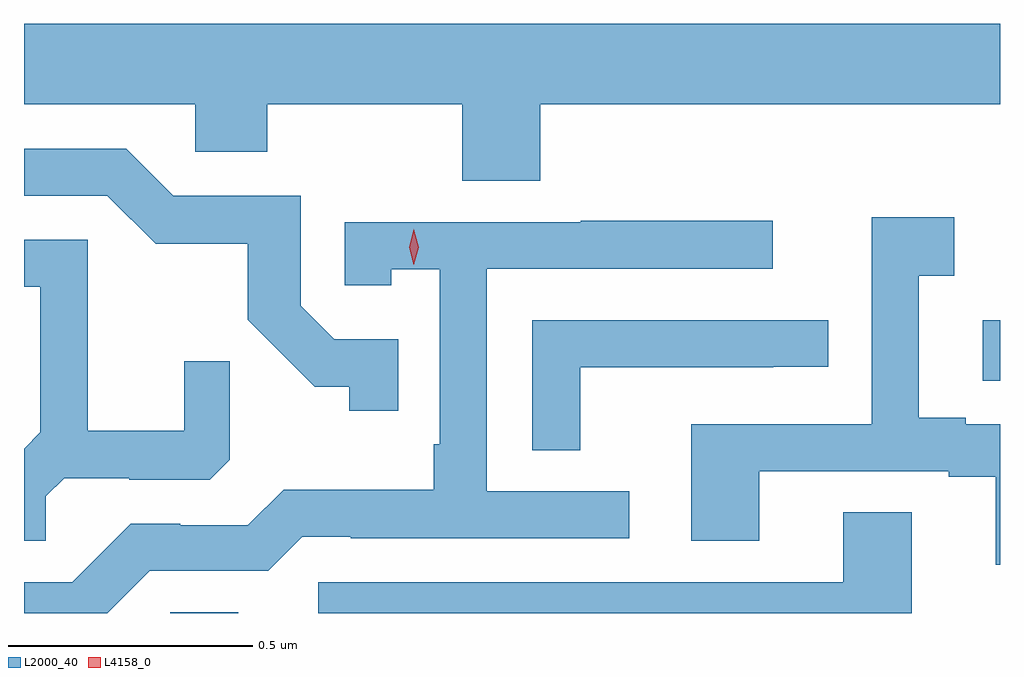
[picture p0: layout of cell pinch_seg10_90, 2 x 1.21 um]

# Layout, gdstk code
import gdstk
lib = gdstk.Library(unit=1e-6, precision=1e-09)
def R(c, l, rs):  # rectangles x0, y0, x1, y1
    for r in rs: c.add(gdstk.rectangle(r[:2], r[2:], *l))
def P(c, l, *ps):  # polygons
    for p in ps: c.add(gdstk.Polygon(p, *l))
L2000_40 = (2000, 40)
L4158_0 = (4158, 0)

pinch_seg10_90 = lib.new_cell('pinch_seg10_90')
R(pinch_seg10_90, L2000_40, [(734.274,1292.613,734.413,1292.615), (735.939,1293.089,735.974,1293.213)])
P(pinch_seg10_90, L2000_40, [(735.032,1293.656),(735.974,1293.656),(735.974,1293.82),(733.974,1293.82),(733.974,1293.656),(734.325,1293.656),(734.325,1293.558),(734.472,1293.558),(734.472,1293.656),(734.872,1293.656),(734.872,1293.499),(735.032,1293.499)],
  [(734.741,1293.174),(734.61,1293.174),(734.541,1293.243),(734.541,1293.468),(734.28,1293.468),(734.184,1293.564),(733.974,1293.564),(733.974,1293.468),(734.145,1293.468),(734.244,1293.37),(734.433,1293.37),(734.433,1293.214),(734.57,1293.077),(734.64,1293.077),(734.64,1293.027),(734.741,1293.027)],
  [(735.974,1293),(735.904,1293),(735.904,1293.013),(735.808,1293.013),(735.808,1293.304),(735.88,1293.304),(735.88,1293.424),(735.711,1293.424),(735.711,1293),(735.341,1293),(735.341,1292.761),(735.481,1292.761),(735.481,1292.904),(735.869,1292.904),(735.869,1292.892),(735.965,1292.892),(735.965,1292.712),(735.974,1292.712)],
  [(734.232,1292.7),(734.475,1292.7),(734.544,1292.769),(734.644,1292.769),(734.644,1292.766),(735.214,1292.766),(735.214,1292.862),(734.922,1292.862),(734.922,1293.318),(735.508,1293.318),(735.508,1293.417),(735.115,1293.417),(735.115,1293.414),(734.631,1293.414),(734.631,1293.285),(734.727,1293.285),(734.727,1293.317),(734.826,1293.317),(734.826,1292.959),(734.814,1292.959),(734.814,1292.866),(734.506,1292.866),(734.433,1292.793),(734.294,1292.793),(734.294,1292.796),(734.193,1292.796),(734.073,1292.676),(733.974,1292.676),(733.974,1292.613),(734.145,1292.613)],
  [(734.019,1292.852),(734.056,1292.889),(734.19,1292.889),(734.19,1292.886),(734.355,1292.886),(734.396,1292.927),(734.396,1293.129),(734.302,1293.129),(734.302,1292.986),(734.105,1292.986),(734.105,1293.378),(733.974,1293.378),(733.974,1293.282),(734.007,1293.282),(734.007,1292.983),(733.974,1292.95),(733.974,1292.761),(734.019,1292.761)],
  [(735.114,1293.117),(735.509,1293.117),(735.509,1293.118),(735.622,1293.118),(735.622,1293.213),(735.015,1293.213),(735.015,1292.947),(735.114,1292.947)],
  [(735.793,1292.819),(735.653,1292.819),(735.653,1292.676),(734.577,1292.676),(734.577,1292.613),(735.793,1292.613)])
P(pinch_seg10_90, L4158_0, [(734.773,1293.327),(734.773,1293.327),(734.763,1293.363),(734.773,1293.399),(734.773,1293.399),(734.773,1293.399),(734.783,1293.363),(734.773,1293.327)])

lib.write_gds('pinch_seg10_90.gds')
